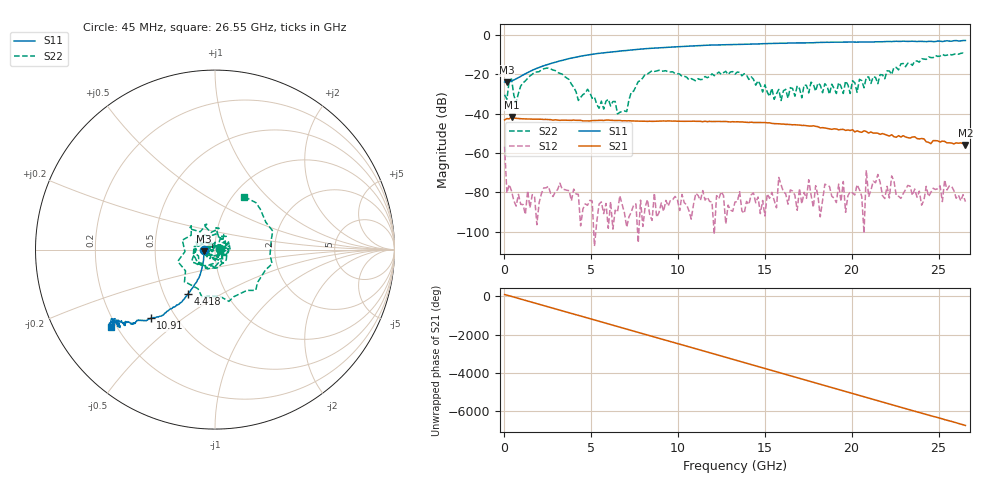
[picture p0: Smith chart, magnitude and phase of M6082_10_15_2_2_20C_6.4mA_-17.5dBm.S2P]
!  2-Port S-parameters saved by WinCal
! VAR MeasName=S-Parameters (CALIBRATED_DATA) read from VNA (C)
! VAR MeasDate=10/16/2015 3:11:57 PM
! VAR NAME=M6082_10_15_2_2_20C_6.4mA_-17.5dBm
! VAR FILENAME=M6082_10_15_2_2_20C_6.4mA_-17.5dBm.S2P
! VAR DATE=10/16/2015 3:11:57 PM
! VAR PHYS_PORTS=2,1
! VAR ObjTypeName=DATASET
! VAR IndexType=Frequency
# Hz S RI R 50
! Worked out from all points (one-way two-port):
!   201 points, 45 MHz to 26.55 GHz, reference 50 ohm
!   highest |S21| = -41.66 dB at 442.5 MHz (marker M1); lowest = -55.9 dB at 26.55 GHz (marker M2)
!   lowest |S11| = -24.0 dB at 177.5 MHz (marker M3), VSWR 1.13, Z = 44.1 - j0.79 ohm
!   |S11| at or under -10 dB: start of sweep to 4.992 GHz
!   |S22| runs from -40.2 to -9.2 dB; largest |S21 - S12| = 0.0082
!   S11 on the Smith chart (normalised r, x): 45 MHz: 0.88, -0.00; 4.418 GHz: 0.66, -0.35; 10.91 GHz: 0.36, -0.39; 26.55 GHz: 0.18, -0.32
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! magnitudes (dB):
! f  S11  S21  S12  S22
! 45 MHz  -23.9  -43.2  -56.8  -30.5
! 177.5 MHz  -24.0  -42.5  -80.3  -32.7
! 442.5 MHz  -23.5  -41.7  -79.3  -22.4
! 707.5 MHz  -22.3  -42.4  -87.0  -34.5
! 2.43 GHz  -15.3  -42.9  -77.7  -16.9
! 4.418 GHz  -10.9  -43.4  -97.0  -31.8
! 4.55 GHz  -10.7  -43.7  -88.4  -30.3
! 7.067 GHz  -7.9  -43.7  -97.7  -39.0
! 7.73 GHz  -7.3  -43.8  -105.6  -23.7
! 8.922 GHz  -6.6  -43.8  -90.3  -18.0
! 10.91 GHz  -5.6  -43.8  -86.1  -22.8
! 13.29 GHz  -4.9  -44.2  -84.9  -20.0
! 15.95 GHz  -4.3  -45.3  -76.2  -33.4
! 17.8 GHz  -4.0  -46.2  -87.7  -25.1
! 20.71 GHz  -3.7  -48.7  -100.7  -26.9
! 20.85 GHz  -3.7  -49.1  -68.8  -21.5
! 20.98 GHz  -3.6  -49.9  -82.3  -21.4
! 21.51 GHz  -3.5  -50.0  -70.9  -24.8
! 22.17 GHz  -3.4  -51.4  -82.9  -18.4
! 22.3 GHz  -3.4  -50.8  -71.7  -20.2
! 22.57 GHz  -3.3  -52.0  -81.7  -16.6
! 26.55 GHz  -2.8  -55.9  -84.7  -9.5
